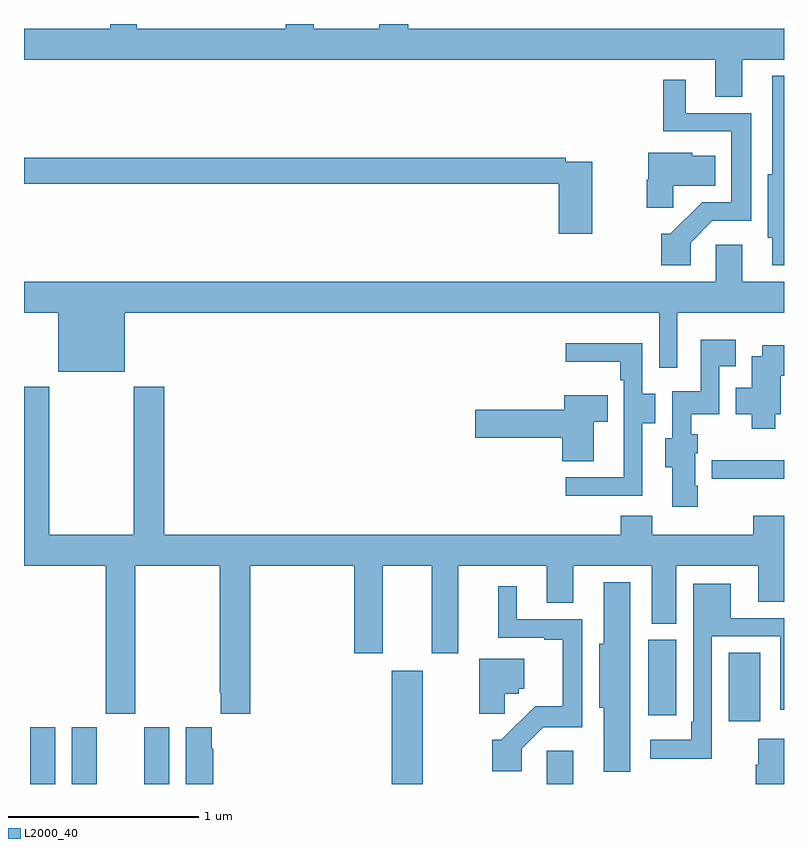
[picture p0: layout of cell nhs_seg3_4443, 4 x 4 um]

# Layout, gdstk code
import gdstk
lib = gdstk.Library(unit=1e-6, precision=1e-09)
def R(c, l, rs):  # rectangles x0, y0, x1, y1
    for r in rs: c.add(gdstk.rectangle(r[:2], r[2:], *l))
def P(c, l, *ps):  # polygons
    for p in ps: c.add(gdstk.Polygon(p, *l))
L2000_40 = (2000, 40)

nhs_seg3_4443 = lib.new_cell('nhs_seg3_4443')
R(nhs_seg3_4443, L2000_40, [(347.033,734.4,347.164,734.698), (347.252,734.4,347.383,734.698), (347.633,734.4,347.764,734.698), (348.935,734.4,349.099,734.995), (349.752,734.4,349.891,734.575), (350.708,734.73,350.875,735.092), (350.285,734.763,350.434,735.159)])
P(nhs_seg3_4443, L2000_40, [(350.779,738.212),(351,738.212),(351,738.376),(349.022,738.376),(349.022,738.4),(348.869,738.4),(348.869,738.376),(348.525,738.376),(348.525,738.4),(348.377,738.4),(348.377,738.376),(347.593,738.376),(347.593,738.4),(347.453,738.4),(347.453,738.376),(347,738.376),(347,738.212),(350.639,738.212),(350.639,738.018),(350.779,738.018)],
  [(351,738.127),(350.939,738.127),(350.939,737.61),(350.915,737.61),(350.915,737.274),(350.939,737.274),(350.939,737.129),(351,737.129)],
  [(350.508,737.25),(350.622,737.364),(350.827,737.364),(350.827,737.931),(350.482,737.931),(350.482,738.106),(350.365,738.106),(350.365,737.835),(350.723,737.835),(350.723,737.461),(350.569,737.461),(350.483,737.374),(350.481,737.376),(350.401,737.296),(350.353,737.296),(350.353,737.13),(350.508,737.13)],
  [(350.417,737.549),(350.638,737.549),(350.638,737.707),(350.517,737.707),(350.517,737.722),(350.285,737.722),(350.285,737.58),(350.278,737.58),(350.278,737.433),(350.417,737.433)],
  [(349.992,737.676),(349.85,737.676),(349.85,737.696),(347,737.696),(347,737.56),(349.814,737.56),(349.814,737.295),(349.992,737.295)],
  [(347.53,736.88),(350.343,736.88),(350.343,736.59),(350.439,736.59),(350.439,736.88),(351,736.88),(351,737.044),(350.779,737.044),(350.779,737.239),(350.64,737.239),(350.64,737.044),(347,737.044),(347,736.88),(347.18,736.88),(347.18,736.571),(347.53,736.571)],
  [(350.545,735.97),(350.533,735.97),(350.533,736.142),(350.546,736.142),(350.546,736.242),(350.511,736.242),(350.511,736.346),(350.658,736.346),(350.658,736.598),(350.746,736.598),(350.746,736.738),(350.562,736.738),(350.562,736.468),(350.412,736.468),(350.412,736.221),(350.375,736.221),(350.375,736.066),(350.411,736.066),(350.411,735.858),(350.545,735.858)],
  [(350.253,736.3),(350.323,736.3),(350.323,736.455),(350.253,736.455),(350.253,736.72),(349.851,736.72),(349.851,736.622),(350.137,736.622),(350.137,736.526),(350.157,736.526),(350.157,736.211),(350.156,736.211),(350.156,736.014),(349.851,736.014),(349.851,735.918),(350.253,735.918)],
  [(350.953,736.346),(350.983,736.346),(350.983,736.55),(351,736.55),(351,736.708),(350.885,736.708),(350.885,736.651),(350.831,736.651),(350.831,736.486),(350.747,736.486),(350.747,736.346),(350.831,736.346),(350.831,736.271),(350.953,736.271)],
  [(350.141,735.712),(347.738,735.712),(347.738,736.492),(347.578,736.492),(347.578,735.712),(347.133,735.712),(347.133,736.492),(347,736.492),(347,735.548),(347.431,735.548),(347.431,734.769),(347.586,734.769),(347.586,735.548),(348.031,735.548),(348.031,734.881),(348.035,734.881),(348.035,734.769),(348.191,734.769),(348.191,735.548),(348.737,735.548),(348.737,735.087),(348.889,735.087),(348.889,735.548),(349.145,735.548),(349.145,735.087),(349.285,735.087),(349.285,735.548),(349.751,735.548),(349.751,735.354),(349.891,735.354),(349.891,735.548),(350.303,735.548),(350.303,735.244),(350.434,735.244),(350.434,735.548),(350.864,735.548),(350.864,735.358),(351,735.358),(351,735.811),(350.837,735.811),(350.837,735.712),(350.306,735.712),(350.306,735.811),(350.141,735.811)],
  [(349.999,736.307),(350.072,736.307),(350.072,736.447),(349.844,736.447),(349.844,736.37),(349.374,736.37),(349.374,736.223),(349.832,736.223),(349.832,736.099),(349.999,736.099)],
  [(351,736.104),(350.949,736.104),(350.949,736.105),(350.619,736.105),(350.619,736.007),(351,736.007)],
  [(350.191,735.463),(350.051,735.463),(350.051,735.138),(350.027,735.138),(350.027,734.802),(350.051,734.802),(350.051,734.465),(350.191,734.465)],
  [(350.619,735.177),(350.979,735.177),(350.979,734.79),(351,734.79),(351,735.273),(350.719,735.273),(350.719,735.454),(350.523,735.454),(350.523,734.728),(350.511,734.728),(350.511,734.632),(350.295,734.632),(350.295,734.534),(350.619,734.534)],
  [(349.62,734.586),(349.734,734.7),(349.939,734.7),(349.939,735.267),(349.594,735.267),(349.594,735.442),(349.496,735.442),(349.496,735.171),(349.739,735.171),(349.739,735.159),(349.835,735.159),(349.835,734.81),(349.691,734.81),(349.513,734.632),(349.465,734.632),(349.465,734.466),(349.62,734.466)],
  [(349.529,734.874),(349.605,734.874),(349.605,734.901),(349.633,734.901),(349.633,735.058),(349.397,735.058),(349.397,734.769),(349.529,734.769)],
  [(347.996,734.585),(347.989,734.585),(347.989,734.698),(347.852,734.698),(347.852,734.4),(347.996,734.4)],
  [(351,734.638),(350.864,734.638),(350.864,734.501),(350.852,734.501),(350.852,734.4),(351,734.4)])

lib.write_gds('nhs_seg3_4443.gds')
